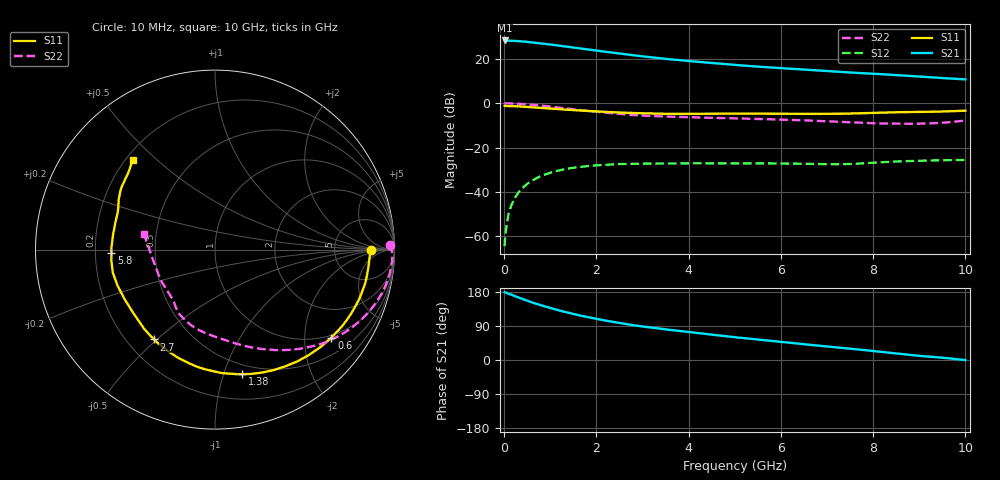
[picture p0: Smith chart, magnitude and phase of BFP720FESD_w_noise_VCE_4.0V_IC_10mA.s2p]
! Infineon Technologies  Discrete & RF Semiconductors
! BFP720FESD
! VCE =  4.0 V,  IC =  10 mA
! Common Emitter S-Parameters:  Jan 2016
# GHz  S  MA  R  50
!  f  S11  S21  S12  S22
! GHz  MAG  ANG  MAG  ANG  MAG  ANG  MAG  ANG
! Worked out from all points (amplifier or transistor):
!   233 points, 10 MHz to 10 GHz, reference 50 ohm
!   highest |S21| = 28.3 dB at 10 MHz (marker M1)
!   |S21| within 3 dB of that: start of sweep to 1.436 GHz
!   unconditionally stable (mu >= 1): start of sweep to 13.26 MHz; 6.424 GHz to end of sweep
!   at 200 MHz: K = 0.12, MSG = 36.1 dB, |S12| = -44.0 dB
!   at 1.74 GHz: K = 0.30, MSG = 26.4 dB, |S12| = -28.5 dB
!   at 10 GHz: K = 1.28, MAG = 14.9 dB, |S12| = -25.6 dB
!   lowest NFmin = 0.67 dB at 450 MHz
!   S11 on the Smith chart (normalised r, x): 10 MHz: 14, -1; 600 MHz: 0.93, -2.69; 1.38 GHz: 0.41, -1.16; 2.7 GHz: 0.31, -0.49; 5.8 GHz: 0.27, -0.01; 10 GHz: 0.23, +0.42
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0.01  0.869 -0.3  25.87 178.9  0.0006 19.4  0.9729 1.6
0.05  0.8622 -2.9  25.5 176.9  0.0016 71.2  0.9884 -1.7
0.1  0.8602 -6.5  25.57 175.1  0.0033 77.2  0.9887 -3.8
0.2  0.8574 -12.8  25.41 170.2  0.0063 78.3  0.9821 -7.9
0.3  0.8491 -19.1  25.06 165.4  0.0094 76.2  0.9713 -11.8
0.44  0.8333 -27.6  24.36 159.0  0.0134 72.3  0.9507 -16.9
0.6  0.8131 -37.1  23.46 152.1  0.0178 67.5  0.9214 -22.6
0.76  0.7908 -46.2  22.47 145.9  0.0218 63.0  0.8887 -27.9
0.96  0.7637 -57.0  21.23 138.6  0.0263 57.5  0.8455 -34.2
1.2  0.7332 -69.2  19.76 130.5  0.0308 51.6  0.7924 -41.4
1.38  0.7108 -77.7  18.65 124.8  0.0335 47.3  0.7526 -46.2
1.68  0.6782 -90.4  16.95 116.4  0.0371 41.3  0.6932 -53.7
2.2  0.6369 -108.9  14.36 104.0  0.0409 33.0  0.6107 -65.0
2.7  0.6047 -124.1  12.37 93.9  0.0429 26.8  0.5513 -74.7
3  0.5918 -132.0  11.35 88.4  0.0433 23.9  0.5248 -79.7
3.4  0.5777 -140.2  10.2 82.4  0.0436 21.8  0.5038 -84.5
4.1  0.5744 -153.0  8.724 72.5  0.0442 18.8  0.4795 -91.9
5.1  0.5825 -168.7  7.148 58.9  0.0442 15.8  0.4519 -103.4
5.8  0.5775 -178.2  6.352 50.4  0.0439 14.7  0.4324 -110.7
6.8  0.5738 167.1  5.457 38.0  0.0425 15.4  0.3982 -121.9
8.4  0.6207 148.1  4.36 18.6  0.048 22.1  0.3472 -147.5
10  0.6777 132.7  3.434 -0.2  0.0527 19.1  0.4065 167.6
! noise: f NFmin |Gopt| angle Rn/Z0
0.45  0.67  0.34  3  0.12
2.4  0.75  0.2  29  0.13
5.5  0.89  0.27  115  0.09
10  1.35  0.26  -149  0.11
